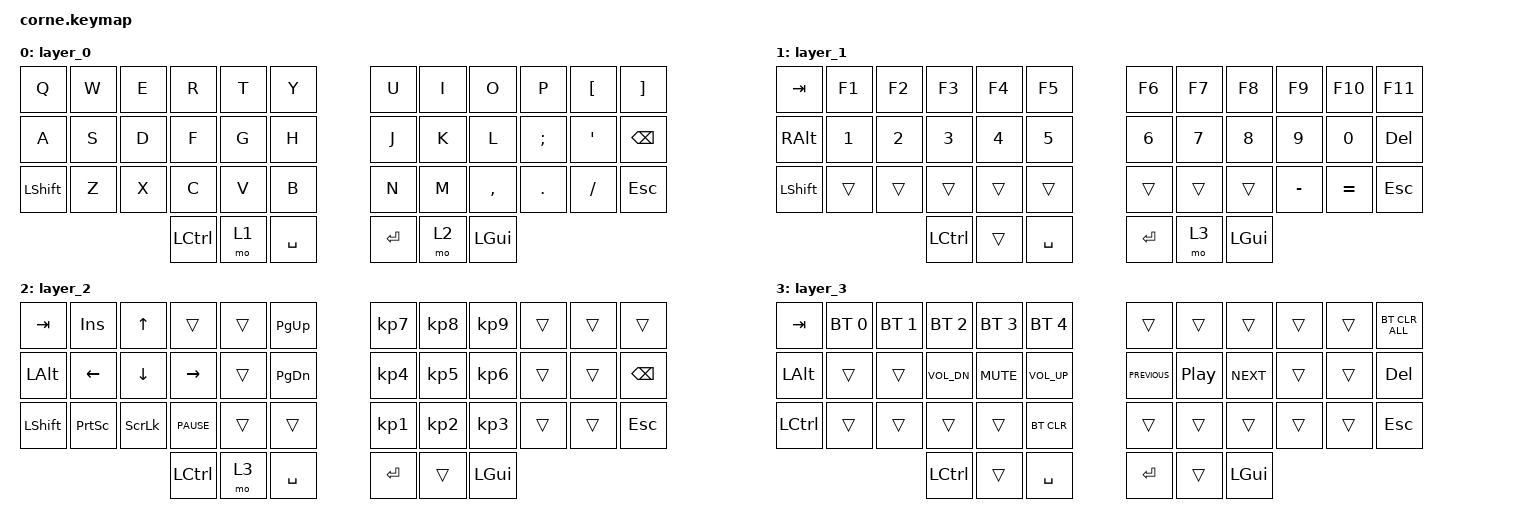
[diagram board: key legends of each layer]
 /*
 * Copyright (c) 2020 The ZMK Contributors
 *
 * SPDX-License-Identifier: MIT
 */

#include <behaviors.dtsi>
#include <dt-bindings/zmk/keys.h>
#include <dt-bindings/zmk/bt.h>
#include <dt-bindings/zmk/rgb.h>

#define DEF 0
#define GAME 1
#define LWR 2
#define RSE 3
#define ADJ 4

&lt { quick_tap_ms = <200>; };
&mt { quick_tap_ms = <200>; };

/ {
    keymap {
        compatible = "zmk,keymap";

        layer_0 {
            bindings = <
&kp Q      &kp W  &kp E  &kp R      &kp T  &kp Y        &kp U    &kp I  &kp O      &kp P     &kp LBKT  &kp RBKT
&kp A      &kp S  &kp D  &kp F      &kp G  &kp H        &kp J    &kp K  &kp L      &kp SEMI  &kp SQT   &kp BSPC
&kp LSHFT  &kp Z  &kp X  &kp C      &kp V  &kp B        &kp N    &kp M  &kp COMMA  &kp DOT   &kp FSLH  &kp ESC
                         &kp LCTRL  &mo 1  &kp SPACE    &kp RET  &mo 2  &kp LGUI
            >;
        };

        layer_1 {
            bindings = <
&kp TAB    &kp F1  &kp F2  &kp F3     &kp F4  &kp F5       &kp F6   &kp F7  &kp F8    &kp F9     &kp F10    &kp F11
&kp RALT   &kp N1  &kp N2  &kp N3     &kp N4  &kp N5       &kp N6   &kp N7  &kp N8    &kp N9     &kp N0     &kp DEL
&kp LSHFT  &trans  &trans  &trans     &trans  &trans       &trans   &trans  &trans    &kp MINUS  &kp EQUAL  &kp ESC
                           &kp LCTRL  &trans  &kp SPACE    &kp RET  &mo 3   &kp LGUI
            >;
        };

        layer_2 {
            bindings = <
&kp TAB    &kp INSERT       &kp UP          &trans       &trans  &kp PG_UP    &kp KP_NUMBER_7  &kp KP_NUMBER_8  &kp KP_NUMBER_9  &trans  &trans  &trans
&kp LALT   &kp LEFT         &kp DOWN        &kp RIGHT    &trans  &kp PG_DN    &kp KP_NUMBER_4  &kp KP_NUMBER_5  &kp KP_NUMBER_6  &trans  &trans  &kp BSPC
&kp LSHFT  &kp PRINTSCREEN  &kp SCROLLLOCK  &kp C_PAUSE  &trans  &trans       &kp KP_NUMBER_1  &kp KP_NUMBER_2  &kp KP_NUMBER_3  &trans  &trans  &kp ESC
                                            &kp LCTRL    &mo 3   &kp SPACE    &kp RET          &trans           &kp LGUI
            >;
        };

        layer_3 {
            bindings = <
&kp TAB    &bt BT_SEL 0  &bt BT_SEL 1  &bt BT_SEL 2  &bt BT_SEL 3  &bt BT_SEL 4    &trans          &trans            &trans      &trans  &trans  &bt BT_CLR_ALL
&kp LALT   &trans        &trans        &kp C_VOL_DN  &kp C_MUTE    &kp C_VOL_UP    &kp C_PREVIOUS  &kp C_PLAY_PAUSE  &kp C_NEXT  &trans  &trans  &kp DEL
&kp LCTRL  &trans        &trans        &trans        &trans        &bt BT_CLR      &trans          &trans            &trans      &trans  &trans  &kp ESC
                                       &kp LCTRL     &trans        &kp SPACE       &kp RET         &trans            &kp LGUI
            >;
        };
    };
};
